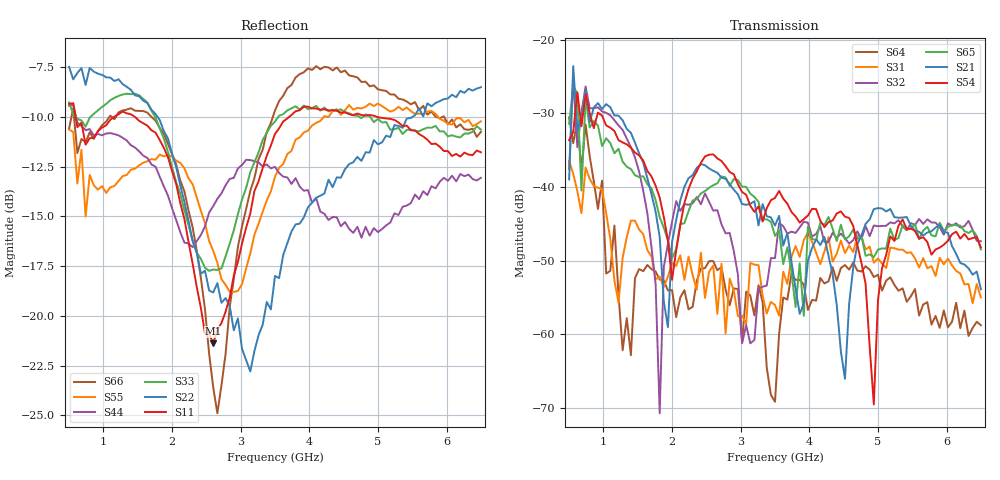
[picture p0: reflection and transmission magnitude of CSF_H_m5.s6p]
!Keysight Technologies,M9804A,MY58100912,A.14.10.03
!Date: Thursday, April 27, 2023 10:28:33
!Correction: S11(C  6-Port  )
!S12(C  6-Port  )
!S13(C  6-Port  )
!S14(C  6-Port  )
!S15(C  6-Port  )
!S16(C  6-Port  )
!S21(C  6-Port  )
!S22(C  6-Port  )
!S23(C  6-Port  )
!S24(C  6-Port  )
!S25(C  6-Port  )
!S26(C  6-Port  )
!S31(C  6-Port  )
!S32(C  6-Port  )
!S33(C  6-Port  )
!S34(C  6-Port  )
!S35(C  6-Port  )
!S36(C  6-Port  )
!S41(C  6-Port  )
!S42(C  6-Port  )
!S43(C  6-Port  )
!S44(C  6-Port  )
!S45(C  6-Port  )
!S46(C  6-Port  )
!S51(C  6-Port  )
!S52(C  6-Port  )
!S53(C  6-Port  )
!S54(C  6-Port  )
!S55(C  6-Port  )
!S56(C  6-Port  )
!S61(C  6-Port  )
!S62(C  6-Port  )
!S63(C  6-Port  )
!S64(C  6-Port  )
!S65(C  6-Port  )
!S66(C  6-Port  )
!S6P File: Measurement: :
# Hz S  RI  R 50
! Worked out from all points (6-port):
!   101 points, 500 MHz to 6.5 GHz, reference 50 ohm
!   strongest paths, dB at 500 MHz, 2 GHz, 3.5 GHz, 5 GHz, 6.5 GHz:
!     S54: -33.6, -52.6, -41.5, -55.4, -48.2
!     S21: -39.0, -47.4, -45.2, -42.9, -53.9
!     S65: -31.4, -49.6, -46.6, -48.5, -48.5
!     S32: -37.5, -44.7, -49.6, -45.3, -47.3
!     S31: -36.5, -50.3, -56.0, -49.7, -55.0
!     S64: -30.5, -54.0, -69.1, -51.9, -58.7
!   lowest |S11| = -21.4 dB at 2.6 GHz (marker M1), VSWR 1.19, Z = 42.4 + j2.25 ohm
!   |S11| at or under -10 dB: 594.4 MHz to 1.155 GHz (560.2 MHz wide, 64.1 % of centre); 1.46 GHz to 3.707 GHz (2.246 GHz wide, 86.9 % of centre); 4.988 GHz to end of sweep
